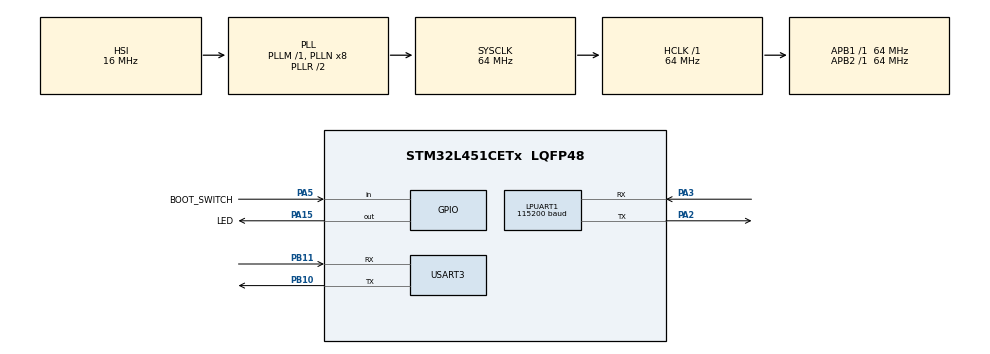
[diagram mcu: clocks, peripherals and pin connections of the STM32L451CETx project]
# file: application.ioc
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LPUART1.BaudRate=115200
LPUART1.WordLength=UART_WORDLENGTH_8B
Mcu.Family=STM32L4
Mcu.Name=STM32L451CETx
Mcu.Package=LQFP48
NVIC.PriorityGroup=NVIC_PRIORITYGROUP_4
PA15\ (JTDI).GPIO_Label=LED
PA15\ (JTDI).Signal=GPIO_Output
PA2.Mode=Asynchronous
PA2.Signal=LPUART1_TX
PA3.Mode=Asynchronous
PA3.Signal=LPUART1_RX
PA5.GPIO_Label=BOOT_SWITCH
PA5.GPIO_PuPd=GPIO_PULLUP
PA5.Signal=GPIO_Input
PB10.Mode=Asynchronous
PB10.Signal=USART3_TX
PB11.Mode=Asynchronous
PB11.Signal=USART3_RX
ProjectManager.HeapSize=0x200
ProjectManager.StackSize=0x400
ProjectManager.TargetToolchain=STM32CubeIDE
RCC.ADCFreq_Value=64000000
RCC.AHBFreq_Value=64000000
RCC.APB1Freq_Value=64000000
RCC.APB1TimFreq_Value=64000000
RCC.APB2Freq_Value=64000000
RCC.APB2TimFreq_Value=64000000
RCC.CortexFreq_Value=64000000
RCC.HCLKFreq_Value=64000000
RCC.HSE_VALUE=8000000
RCC.HSI48_VALUE=48000000
RCC.HSI_VALUE=16000000
RCC.LSE_VALUE=32768
RCC.MSIClockRange=RCC_MSIRANGE_11
RCC.MSI_VALUE=48000000
RCC.PLLSourceVirtual=RCC_PLLSOURCE_HSI
RCC.SYSCLKFreq_VALUE=64000000
RCC.SYSCLKSource=RCC_SYSCLKSOURCE_PLLCLK
RCC.VCOOutputFreq_Value=128000000
USART3.VirtualMode-Asynchronous=VM_ASYNC
VP_CRC_VS_CRC.Mode=CRC_Activate
board=custom

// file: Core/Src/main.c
/* USER CODE BEGIN Header */
/**
  ******************************************************************************
  * @file           : main.c
  * @brief          : Main program body
  ******************************************************************************
  * @attention
  *
  * Copyright (c) 2023 STMicroelectronics.
  * All rights reserved.
  *
  * This software is licensed under terms that can be found in the LICENSE file
  * in the root directory of this software component.
  * If no LICENSE file comes with this software, it is provided AS-IS.
  *
  ******************************************************************************
  */
/* USER CODE END Header */
#include "main.h"

/* USER CODE BEGIN Includes */
#include "boot.h"
#include <stdbool.h>
#include <stdio.h>
#include "boot.h"
/* USER CODE END Includes */

CRC_HandleTypeDef hcrc;

UART_HandleTypeDef hlpuart1;
UART_HandleTypeDef huart3;

void SystemClock_Config(void);
static void MX_GPIO_Init(void);
static void MX_LPUART1_UART_Init(void);
static void MX_USART3_UART_Init(void);
static void MX_CRC_Init(void);

/* USER CODE BEGIN 0 */
#ifdef __GNUC__
#define PUTCHAR_PROTOTYPE int __io_putchar(int ch)
#else
#define PUTCHAR_PROTOTYPE int fputc(int ch, FILE *f)
#endif

PUTCHAR_PROTOTYPE
{
  HAL_UART_Transmit(&hlpuart1, (uint8_t *)&ch, 1, HAL_MAX_DELAY);
  return ch;
}

OTA_GNRL_CFG_ *SavedCfg;

static void goto_application(void)
{
  printf("Gonna Jump to Application\r\n");
  //void (*app_reset_handler)(void) = (void*)(*((volatile uint32_t*) (OTA_APP_FLASH_ADDR + 4U)));

  //void (*app_reset_handler)(void) = (void*)(*((volatile uint32_t*) (OTA_NEW_FW_START_ADDR + 4U)));
  void (*app_reset_handler)(void) = (void*)(*((volatile uint32_t*) (OTA_NEW_BOOTLOADER_START_ADDR + 4U)));
  app_reset_handler();    //call the app reset handler
}
/* USER CODE END 0 */

int main(void)
{

  /* MCU Configuration--------------------------------------------------------*/

  /* Reset of all peripherals, Initializes the Flash interface and the Systick. */
  HAL_Init();

  /* Configure the system clock */
  SystemClock_Config();

  /* Initialize all configured peripherals */
  MX_GPIO_Init();
  MX_LPUART1_UART_Init();
  MX_USART3_UART_Init();
  MX_CRC_Init();
  /* USER CODE BEGIN 2 */
  bool goto_ota_mode = false;
	GPIO_PinState OTA_Pin_state;
	uint32_t end_tick = HAL_GetTick() + 7000;   // from now to 7 Seconds

	printf("Press Boot button to trigger OTA update...\r\n");
	do
	{
	  OTA_Pin_state = HAL_GPIO_ReadPin( BOOT_SWITCH_GPIO_Port, BOOT_SWITCH_Pin );
	  uint32_t current_tick = HAL_GetTick();

	  /* Check the button is pressed or not for 7seconds */
	  if( ( OTA_Pin_state != GPIO_PIN_SET ) || ( current_tick > end_tick ) )
	  {
		/* Either timeout or Button is pressed */
		break;
	  }
	}while( !goto_ota_mode );

	/*Start the Firmware or Application update */
	if( ( OTA_Pin_state == GPIO_PIN_RESET ) || ( goto_ota_mode ) )
	{
	  printf("Starting Firmware Download!!!\r\n");
	  HAL_GPIO_WritePin(LED_GPIO_Port, LED_Pin, GPIO_PIN_SET);
	  /* OTA Request. Receive the data from the UART4 and flash */
	  if( ota_download_and_flash() != OTA_EX_OK )
	  {
		/* Error. Don't process. */
		printf("OTA Update : ERROR!!! HALT!!!\r\n");
		//HAL_GPIO_WritePin(LED_OR_GPIO_Port, LED_OR_Pin, GPIO_PIN_SET);

		while( 1 );
	  }
	  else
	  {
		HAL_GPIO_WritePin(LED_GPIO_Port, LED_Pin, GPIO_PIN_RESET);
		/* Reset to load the new application */
		printf("Firmware update is done!!! Rebooting...\r\n");
		HAL_NVIC_SystemReset();
	  }
	}

	HAL_GPIO_WritePin(LED_GPIO_Port, LED_Pin, GPIO_PIN_RESET);
	//Load the updated app, if it is available
	//load_new_app();

	// Jump to application
	//goto_application();
  /* USER CODE END 2 */

  /* Infinite loop */
  /* USER CODE BEGIN WHILE */
  while (1)
  {
	  HAL_GPIO_TogglePin(LED_GPIO_Port, LED_Pin);
	  HAL_Delay(100);
    /* USER CODE END WHILE */

  }
}

void SystemClock_Config(void)
{
  RCC_OscInitTypeDef RCC_OscInitStruct = {0};
  RCC_ClkInitTypeDef RCC_ClkInitStruct = {0};

  /** Configure the main internal regulator output voltage
  */
  if (HAL_PWREx_ControlVoltageScaling(PWR_REGULATOR_VOLTAGE_SCALE1) != HAL_OK)
  {
    Error_Handler();
  }

  /** Initializes the RCC Oscillators according to the specified parameters
  * in the RCC_OscInitTypeDef structure.
  */
  RCC_OscInitStruct.OscillatorType = RCC_OSCILLATORTYPE_HSI;
  RCC_OscInitStruct.HSIState = RCC_HSI_ON;
  RCC_OscInitStruct.HSICalibrationValue = RCC_HSICALIBRATION_DEFAULT;
  RCC_OscInitStruct.PLL.PLLState = RCC_PLL_ON;
  RCC_OscInitStruct.PLL.PLLSource = RCC_PLLSOURCE_HSI;
  RCC_OscInitStruct.PLL.PLLM = 1;
  RCC_OscInitStruct.PLL.PLLN = 8;
  RCC_OscInitStruct.PLL.PLLP = RCC_PLLP_DIV7;
  RCC_OscInitStruct.PLL.PLLQ = RCC_PLLQ_DIV2;
  RCC_OscInitStruct.PLL.PLLR = RCC_PLLR_DIV2;
  if (HAL_RCC_OscConfig(&RCC_OscInitStruct) != HAL_OK)
  {
    Error_Handler();
  }

  /** Initializes the CPU, AHB and APB buses clocks
  */
  RCC_ClkInitStruct.ClockType = RCC_CLOCKTYPE_HCLK|RCC_CLOCKTYPE_SYSCLK
                              |RCC_CLOCKTYPE_PCLK1|RCC_CLOCKTYPE_PCLK2;
  RCC_ClkInitStruct.SYSCLKSource = RCC_SYSCLKSOURCE_PLLCLK;
  RCC_ClkInitStruct.AHBCLKDivider = RCC_SYSCLK_DIV1;
  RCC_ClkInitStruct.APB1CLKDivider = RCC_HCLK_DIV1;
  RCC_ClkInitStruct.APB2CLKDivider = RCC_HCLK_DIV1;

  if (HAL_RCC_ClockConfig(&RCC_ClkInitStruct, FLASH_LATENCY_3) != HAL_OK)
  {
    Error_Handler();
  }
}

static void MX_CRC_Init(void)
{

  hcrc.Instance = CRC;
  hcrc.Init.DefaultPolynomialUse = DEFAULT_POLYNOMIAL_ENABLE;
  hcrc.Init.DefaultInitValueUse = DEFAULT_INIT_VALUE_ENABLE;
  hcrc.Init.InputDataInversionMode = CRC_INPUTDATA_INVERSION_NONE;
  hcrc.Init.OutputDataInversionMode = CRC_OUTPUTDATA_INVERSION_DISABLE;
  hcrc.InputDataFormat = CRC_INPUTDATA_FORMAT_BYTES;
  if (HAL_CRC_Init(&hcrc) != HAL_OK)
  {
    Error_Handler();
  }

}

static void MX_LPUART1_UART_Init(void)
{

  hlpuart1.Instance = LPUART1;
  hlpuart1.Init.BaudRate = 115200;
  hlpuart1.Init.WordLength = UART_WORDLENGTH_8B;
  hlpuart1.Init.StopBits = UART_STOPBITS_1;
  hlpuart1.Init.Parity = UART_PARITY_NONE;
  hlpuart1.Init.Mode = UART_MODE_TX_RX;
  hlpuart1.Init.HwFlowCtl = UART_HWCONTROL_NONE;
  hlpuart1.Init.OneBitSampling = UART_ONE_BIT_SAMPLE_DISABLE;
  hlpuart1.AdvancedInit.AdvFeatureInit = UART_ADVFEATURE_NO_INIT;
  if (HAL_UART_Init(&hlpuart1) != HAL_OK)
  {
    Error_Handler();
  }

}

static void MX_USART3_UART_Init(void)
{

  huart3.Instance = USART3;
  huart3.Init.BaudRate = 115200;
  huart3.Init.WordLength = UART_WORDLENGTH_8B;
  huart3.Init.StopBits = UART_STOPBITS_1;
  huart3.Init.Parity = UART_PARITY_NONE;
  huart3.Init.Mode = UART_MODE_TX_RX;
  huart3.Init.HwFlowCtl = UART_HWCONTROL_NONE;
  huart3.Init.OverSampling = UART_OVERSAMPLING_16;
  huart3.Init.OneBitSampling = UART_ONE_BIT_SAMPLE_DISABLE;
  huart3.AdvancedInit.AdvFeatureInit = UART_ADVFEATURE_NO_INIT;
  if (HAL_UART_Init(&huart3) != HAL_OK)
  {
    Error_Handler();
  }

}

static void MX_GPIO_Init(void)
{
  GPIO_InitTypeDef GPIO_InitStruct = {0};

  /* GPIO Ports Clock Enable */
  __HAL_RCC_GPIOA_CLK_ENABLE();
  __HAL_RCC_GPIOB_CLK_ENABLE();

  /*Configure GPIO pin Output Level */
  HAL_GPIO_WritePin(LED_GPIO_Port, LED_Pin, GPIO_PIN_RESET);

  /*Configure GPIO pin : BOOT_SWITCH_Pin */
  GPIO_InitStruct.Pin = BOOT_SWITCH_Pin;
  GPIO_InitStruct.Mode = GPIO_MODE_INPUT;
  GPIO_InitStruct.Pull = GPIO_PULLUP;
  HAL_GPIO_Init(BOOT_SWITCH_GPIO_Port, &GPIO_InitStruct);

  /*Configure GPIO pin : LED_Pin */
  GPIO_InitStruct.Pin = LED_Pin;
  GPIO_InitStruct.Mode = GPIO_MODE_OUTPUT_PP;
  GPIO_InitStruct.Pull = GPIO_NOPULL;
  GPIO_InitStruct.Speed = GPIO_SPEED_FREQ_LOW;
  HAL_GPIO_Init(LED_GPIO_Port, &GPIO_InitStruct);

}

void Error_Handler(void)
{
  __disable_irq();
  while (1)
  {
  }
}
